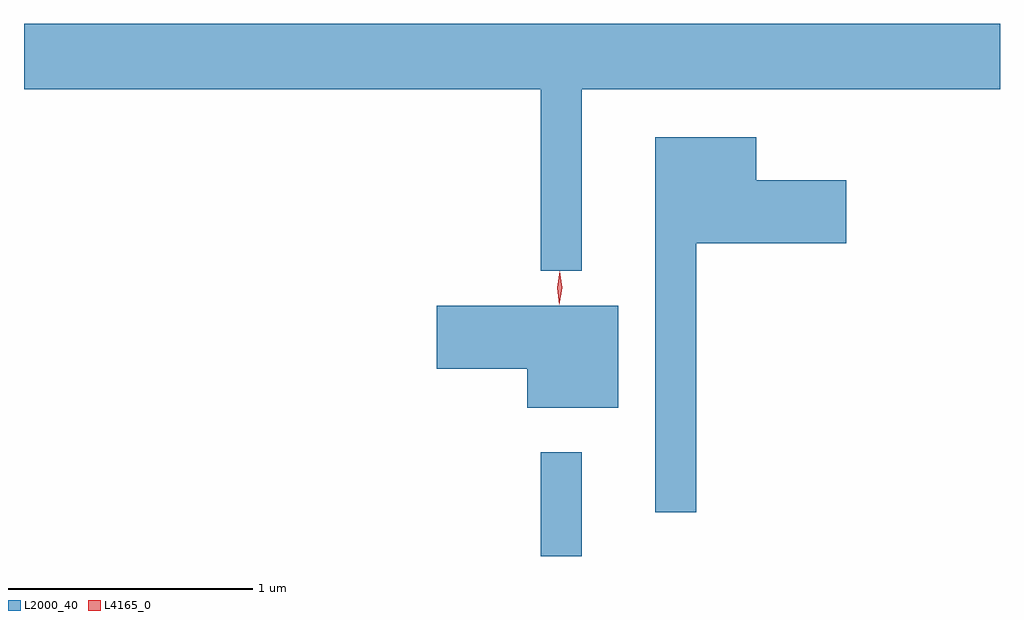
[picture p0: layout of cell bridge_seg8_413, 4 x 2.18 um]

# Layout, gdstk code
import gdstk
lib = gdstk.Library(unit=1e-6, precision=1e-09)
def R(c, l, rs):  # rectangles x0, y0, x1, y1
    for r in rs: c.add(gdstk.rectangle(r[:2], r[2:], *l))
def P(c, l, *ps):  # polygons
    for p in ps: c.add(gdstk.Polygon(p, *l))
L2000_40 = (2000, 40)
L4165_0 = (4165, 0)

bridge_seg8_413 = lib.new_cell('bridge_seg8_413')
R(bridge_seg8_413, L2000_40, [(829.181,1850.043,829.349,1850.468)])
P(bridge_seg8_413, L2000_40, [(829.349,1851.956),(831.064,1851.956),(831.064,1852.224),(827.064,1852.224),(827.064,1851.956),(829.181,1851.956),(829.181,1851.213),(829.349,1851.213)],
  [(829.819,1851.326),(830.434,1851.326),(830.434,1851.584),(830.064,1851.584),(830.064,1851.759),(829.651,1851.759),(829.651,1850.223),(829.819,1850.223)],
  [(829.499,1851.069),(828.756,1851.069),(828.756,1850.811),(829.126,1850.811),(829.126,1850.651),(829.499,1850.651)])
P(bridge_seg8_413, L4165_0, [(829.258,1851.08),(829.258,1851.081),(829.249,1851.144),(829.259,1851.206),(829.26,1851.207),(829.26,1851.206),(829.269,1851.144),(829.258,1851.081)],
  [(829.258,1851.074),(829.258,1851.074),(829.249,1851.142),(829.259,1851.21),(829.26,1851.21),(829.26,1851.21),(829.269,1851.142),(829.258,1851.074)])

lib.write_gds('bridge_seg8_413.gds')
